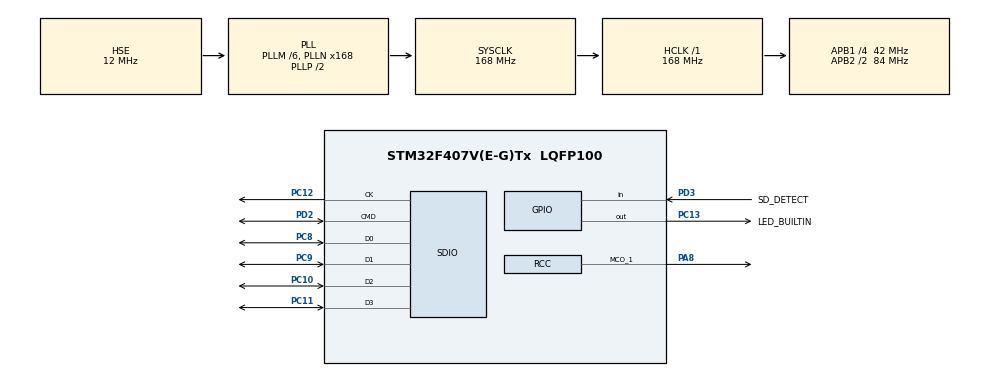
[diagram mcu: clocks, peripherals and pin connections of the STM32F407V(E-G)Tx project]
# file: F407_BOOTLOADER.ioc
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FATFS.BSP.number=1
FATFS._MAX_SS=4096
FATFS._USE_LFN=1
FATFS0.BSP.STBoard=false
FATFS0.BSP.api=Unknown
FATFS0.BSP.instance=PD3
FATFS0.BSP.ip=GPIO
FATFS0.BSP.mode=Input
FATFS0.BSP.name=Detect_SDIO
FATFS0.BSP.solution=PD3
Mcu.Family=STM32F4
Mcu.Name=STM32F407V(E-G)Tx
Mcu.Package=LQFP100
NVIC.PriorityGroup=NVIC_PRIORITYGROUP_4
PA8.Mode=Clock-out-1
PA8.Signal=RCC_MCO_1
PC10.Mode=SD_4_bits_Wide_bus
PC10.Signal=SDIO_D2
PC11.Mode=SD_4_bits_Wide_bus
PC11.Signal=SDIO_D3
PC12.Mode=SD_4_bits_Wide_bus
PC12.Signal=SDIO_CK
PC13-ANTI_TAMP.GPIO_Label=LED_BUILTIN
PC13-ANTI_TAMP.Signal=GPIO_Output
PC8.Mode=SD_4_bits_Wide_bus
PC8.Signal=SDIO_D0
PC9.Mode=SD_4_bits_Wide_bus
PC9.Signal=SDIO_D1
PD2.Mode=SD_4_bits_Wide_bus
PD2.Signal=SDIO_CMD
PD3.GPIO_Label=SD_DETECT
PD3.Signal=GPIO_Input
PH0-OSC_IN.Mode=HSE-External-Oscillator
PH0-OSC_IN.Signal=RCC_OSC_IN
PH1-OSC_OUT.Mode=HSE-External-Oscillator
PH1-OSC_OUT.Signal=RCC_OSC_OUT
ProjectManager.HeapSize=0x200
ProjectManager.StackSize=0x400
ProjectManager.TargetToolchain=STM32CubeIDE
RCC.48MHZClocksFreq_Value=48000000
RCC.AHBFreq_Value=168000000
RCC.APB1CLKDivider=RCC_HCLK_DIV4
RCC.APB1Freq_Value=42000000
RCC.APB1TimFreq_Value=84000000
RCC.APB2CLKDivider=RCC_HCLK_DIV2
RCC.APB2Freq_Value=84000000
RCC.APB2TimFreq_Value=168000000
RCC.CortexFreq_Value=168000000
RCC.HCLKFreq_Value=168000000
RCC.HSE_VALUE=12000000
RCC.HSI_VALUE=16000000
RCC.LSE_VALUE=32768
RCC.PLLM=6
RCC.PLLN=168
RCC.PLLQ=7
RCC.PLLSourceVirtual=RCC_PLLSOURCE_HSE
RCC.SYSCLKFreq_VALUE=168000000
RCC.SYSCLKSource=RCC_SYSCLKSOURCE_PLLCLK
RCC.VCOOutputFreq_Value=336000000
VP_FATFS_VS_SDIO.Mode=SDIO
board=custom

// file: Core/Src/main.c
/* USER CODE BEGIN Header */
/**
  ******************************************************************************
  * @file           : main.c
  * @brief          : Main program body
  ******************************************************************************
  * @attention
  *
  * Copyright (c) 2025 STMicroelectronics.
  * All rights reserved.
  *
  * This software is licensed under terms that can be found in the LICENSE file
  * in the root directory of this software component.
  * If no LICENSE file comes with this software, it is provided AS-IS.
  *
  ******************************************************************************
  */
/* USER CODE END Header */
#include "main.h"
#include "fatfs.h"

/* USER CODE BEGIN Includes */

#include "string.h"

/* USER CODE END Includes */

/* USER CODE BEGIN PD */

#define MY_SDIO_INIT

#define APP_ADDRESS 0x08008000
#define BIN_FILENAME "firmware.bin"
#define BUFFER_SIZE 512

#ifndef MIN
#define MIN(a,b) (((a)<(b))?(a):(b))
#endif

/* USER CODE END PD */

SD_HandleTypeDef hsd;

/* USER CODE BEGIN PV */

FATFS fs;
FIL file;

/* USER CODE END PV */

void SystemClock_Config(void);
static void MX_GPIO_Init(void);
static void MX_SDIO_SD_Init(void);

/* USER CODE BEGIN 0 */

void copy_bin_to_flash(void) {
    UINT bytesRead;
    uint8_t buffer[BUFFER_SIZE];
    uint32_t flash_addr = APP_ADDRESS;
    uint32_t file_size;

    if (f_open(&file, BIN_FILENAME, FA_READ) == FR_OK) {
        file_size = f_size(&file);

        // -------- ERASE FLASH SECTORS --------
        HAL_FLASH_Unlock();

        FLASH_EraseInitTypeDef eraseInit;
        uint32_t sectorError;
        uint32_t end_addr = APP_ADDRESS + file_size;

        eraseInit.TypeErase = FLASH_TYPEERASE_SECTORS;
        eraseInit.VoltageRange = FLASH_VOLTAGE_RANGE_3;
        eraseInit.Sector = 0;  // Akan ditentukan di loop
        eraseInit.NbSectors = 1;

        for (uint32_t addr = APP_ADDRESS; addr < end_addr;) {
            uint32_t sector;

            if      (addr < 0x08004000) sector = FLASH_SECTOR_0;
            else if (addr < 0x08008000) sector = FLASH_SECTOR_1;
            else if (addr < 0x0800C000) sector = FLASH_SECTOR_2;
            else if (addr < 0x08010000) sector = FLASH_SECTOR_3;
            else if (addr < 0x08020000) sector = FLASH_SECTOR_4;
            else if (addr < 0x08040000) sector = FLASH_SECTOR_5;
            else if (addr < 0x08060000) sector = FLASH_SECTOR_6;
            else if (addr < 0x08080000) sector = FLASH_SECTOR_7;
            else break;

            eraseInit.Sector = sector;
            HAL_FLASHEx_Erase(&eraseInit, &sectorError);

            if      (sector <= FLASH_SECTOR_3) addr += 16 * 1024;
            else if (sector == FLASH_SECTOR_4) addr += 64 * 1024;
            else                               addr += 128 * 1024;
        }

        // -------- PROGRAM FLASH --------
        flash_addr = APP_ADDRESS;
        while (f_read(&file, buffer, sizeof(buffer), &bytesRead) == FR_OK && bytesRead > 0) {
            LED_BUILTIN_GPIO_Port->BSRR = LED_BUILTIN_Pin;  // LED ON

            for (uint32_t i = 0; i < bytesRead; i += 4) {
                uint32_t data = *(uint32_t *)&buffer[i];
                HAL_FLASH_Program(FLASH_TYPEPROGRAM_WORD, flash_addr, data);
                flash_addr += 4;
            }

            LED_BUILTIN_GPIO_Port->BSRR = (LED_BUILTIN_Pin << 16);  // LED OFF
        }

        HAL_FLASH_Lock();
        f_close(&file);

        //hapus file
        f_unlink(BIN_FILENAME);
    }
}

static void mount_sdcard (void) {
	if (f_mount(&fs, "", 1) == FR_OK) {
		for (int i = 0; i < 5; i++){
			LED_BUILTIN_GPIO_Port->BSRR = LED_BUILTIN_Pin;
			HAL_Delay(50);
			LED_BUILTIN_GPIO_Port->BSRR = LED_BUILTIN_Pin<<16;
			HAL_Delay(50);
		}
		copy_bin_to_flash();
		f_mount(NULL, "", 1);
	}
}

static void jump_to_app(void)
{
    uint32_t reset = *(volatile uint32_t*)(APP_ADDRESS + 4);

    SCB->VTOR = APP_ADDRESS;
    ((void (*)(void))reset)();
}

/* USER CODE END 0 */

int main(void)
{

  /* MCU Configuration--------------------------------------------------------*/

  /* Reset of all peripherals, Initializes the Flash interface and the Systick. */
  HAL_Init();

  /* Configure the system clock */
  SystemClock_Config();

  /* Initialize all configured peripherals */
  MX_GPIO_Init();
  MX_SDIO_SD_Init();
  MX_FATFS_Init();
  /* USER CODE BEGIN 2 */

  mount_sdcard ();
  HAL_Delay(1000);
  jump_to_app();
  /* USER CODE END 2 */

  /* Infinite loop */
  /* USER CODE BEGIN WHILE */
  while (1)
  {
	  // test blink
	  HAL_GPIO_TogglePin(LED_BUILTIN_GPIO_Port, LED_BUILTIN_Pin);
	  HAL_Delay(500);
    /* USER CODE END WHILE */

  }
}

void SystemClock_Config(void)
{
  RCC_OscInitTypeDef RCC_OscInitStruct = {0};
  RCC_ClkInitTypeDef RCC_ClkInitStruct = {0};

  /** Configure the main internal regulator output voltage
  */
  __HAL_RCC_PWR_CLK_ENABLE();
  __HAL_PWR_VOLTAGESCALING_CONFIG(PWR_REGULATOR_VOLTAGE_SCALE1);

  /** Initializes the RCC Oscillators according to the specified parameters
  * in the RCC_OscInitTypeDef structure.
  */
  RCC_OscInitStruct.OscillatorType = RCC_OSCILLATORTYPE_HSI|RCC_OSCILLATORTYPE_HSE;
  RCC_OscInitStruct.HSEState = RCC_HSE_ON;
  RCC_OscInitStruct.HSIState = RCC_HSI_ON;
  RCC_OscInitStruct.HSICalibrationValue = RCC_HSICALIBRATION_DEFAULT;
  RCC_OscInitStruct.PLL.PLLState = RCC_PLL_ON;
  RCC_OscInitStruct.PLL.PLLSource = RCC_PLLSOURCE_HSE;
  RCC_OscInitStruct.PLL.PLLM = 6;
  RCC_OscInitStruct.PLL.PLLN = 168;
  RCC_OscInitStruct.PLL.PLLP = RCC_PLLP_DIV2;
  RCC_OscInitStruct.PLL.PLLQ = 7;
  if (HAL_RCC_OscConfig(&RCC_OscInitStruct) != HAL_OK)
  {
    Error_Handler();
  }

  /** Initializes the CPU, AHB and APB buses clocks
  */
  RCC_ClkInitStruct.ClockType = RCC_CLOCKTYPE_HCLK|RCC_CLOCKTYPE_SYSCLK
                              |RCC_CLOCKTYPE_PCLK1|RCC_CLOCKTYPE_PCLK2;
  RCC_ClkInitStruct.SYSCLKSource = RCC_SYSCLKSOURCE_PLLCLK;
  RCC_ClkInitStruct.AHBCLKDivider = RCC_SYSCLK_DIV1;
  RCC_ClkInitStruct.APB1CLKDivider = RCC_HCLK_DIV4;
  RCC_ClkInitStruct.APB2CLKDivider = RCC_HCLK_DIV2;

  if (HAL_RCC_ClockConfig(&RCC_ClkInitStruct, FLASH_LATENCY_5) != HAL_OK)
  {
    Error_Handler();
  }
  HAL_RCC_MCOConfig(RCC_MCO1, RCC_MCO1SOURCE_HSI, RCC_MCODIV_1);
}

static void MX_SDIO_SD_Init(void)
{

  /* USER CODE BEGIN SDIO_Init 1 */
#ifdef MY_SDIO_INIT
  hsd.Instance = SDIO;
  hsd.Init.ClockEdge = SDIO_CLOCK_EDGE_RISING;
  hsd.Init.ClockBypass = SDIO_CLOCK_BYPASS_DISABLE;
  hsd.Init.ClockPowerSave = SDIO_CLOCK_POWER_SAVE_DISABLE;
  hsd.Init.BusWide = SDIO_BUS_WIDE_1B;
  hsd.Init.HardwareFlowControl = SDIO_HARDWARE_FLOW_CONTROL_DISABLE;
  hsd.Init.ClockDiv = 18;

  if (HAL_SD_Init(&hsd) != HAL_OK)
  {
      Error_Handler();
  }
  if (HAL_SD_ConfigWideBusOperation(&hsd, SDIO_BUS_WIDE_4B) != HAL_OK)
  {
      Error_Handler();
  }
#else
  /* USER CODE END SDIO_Init 1 */
  hsd.Instance = SDIO;
  hsd.Init.ClockEdge = SDIO_CLOCK_EDGE_RISING;
  hsd.Init.ClockBypass = SDIO_CLOCK_BYPASS_DISABLE;
  hsd.Init.ClockPowerSave = SDIO_CLOCK_POWER_SAVE_DISABLE;
  hsd.Init.BusWide = SDIO_BUS_WIDE_4B;
  hsd.Init.HardwareFlowControl = SDIO_HARDWARE_FLOW_CONTROL_DISABLE;
  hsd.Init.ClockDiv = 0;
  /* USER CODE BEGIN SDIO_Init 2 */
#endif

  /* USER CODE END SDIO_Init 2 */

}

static void MX_GPIO_Init(void)
{
  GPIO_InitTypeDef GPIO_InitStruct = {0};

  /* GPIO Ports Clock Enable */
  __HAL_RCC_GPIOC_CLK_ENABLE();
  __HAL_RCC_GPIOH_CLK_ENABLE();
  __HAL_RCC_GPIOA_CLK_ENABLE();
  __HAL_RCC_GPIOD_CLK_ENABLE();

  /*Configure GPIO pin Output Level */
  HAL_GPIO_WritePin(LED_BUILTIN_GPIO_Port, LED_BUILTIN_Pin, GPIO_PIN_RESET);

  /*Configure GPIO pin : LED_BUILTIN_Pin */
  GPIO_InitStruct.Pin = LED_BUILTIN_Pin;
  GPIO_InitStruct.Mode = GPIO_MODE_OUTPUT_PP;
  GPIO_InitStruct.Pull = GPIO_NOPULL;
  GPIO_InitStruct.Speed = GPIO_SPEED_FREQ_LOW;
  HAL_GPIO_Init(LED_BUILTIN_GPIO_Port, &GPIO_InitStruct);

  /*Configure GPIO pin : PA8 */
  GPIO_InitStruct.Pin = GPIO_PIN_8;
  GPIO_InitStruct.Mode = GPIO_MODE_AF_PP;
  GPIO_InitStruct.Pull = GPIO_NOPULL;
  GPIO_InitStruct.Speed = GPIO_SPEED_FREQ_LOW;
  GPIO_InitStruct.Alternate = GPIO_AF0_MCO;
  HAL_GPIO_Init(GPIOA, &GPIO_InitStruct);

  /*Configure GPIO pin : SD_DETECT_Pin */
  GPIO_InitStruct.Pin = SD_DETECT_Pin;
  GPIO_InitStruct.Mode = GPIO_MODE_INPUT;
  GPIO_InitStruct.Pull = GPIO_NOPULL;
  HAL_GPIO_Init(SD_DETECT_GPIO_Port, &GPIO_InitStruct);

}

void Error_Handler(void)
{
  __disable_irq();
  while (1)
  {
  }
}
